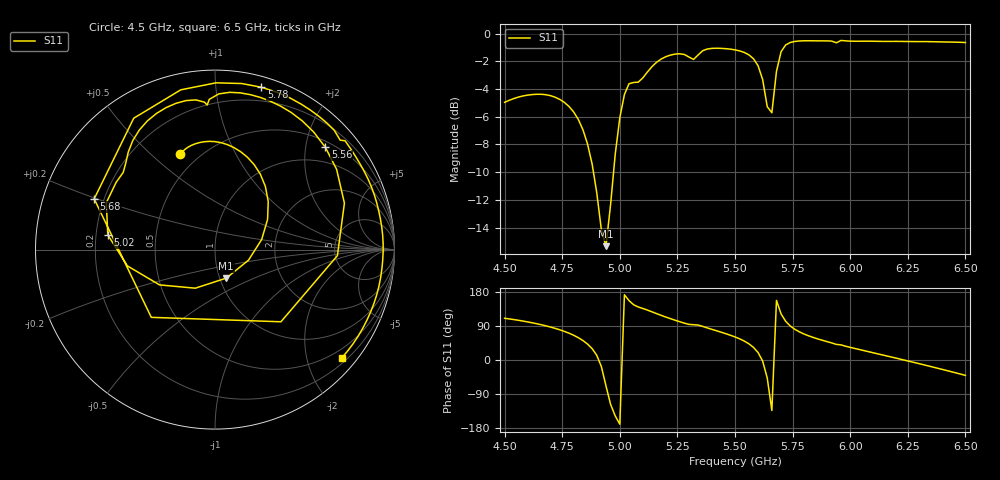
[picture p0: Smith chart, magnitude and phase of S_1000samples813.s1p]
! TOUCHSTONE file generated by CST MICROWAVE STUDIO
! Date and time: Sat Oct 29 11:48:56 2022
! Project name: L.cst
! Parameters = {Di=1.27; Epsilon_r=1.56; InnerDiameter=1.27; Length=2; Lf=10; Lg=60; OuterConductorThickness=0.2921; OuterDiameter=3.6; Wf=3; Wp=41.2; de=1.5; df=6.8; g=0.8; gx=0.984844; gy=2.51583; h=2.34; hf=1.524; px=14.6309; py=10.417; w=9.7; wx=13.646; wy=7.90114}
! Header version: 2018
! Port assignment regex: !\s*Touchstone port\s*([0-9]+)\s*=\s*(CST MWS port|CST DS port)\s*([0-9]+|Zmin|Zmax)\s*\(\"(.*)\"\)(\s*mode\s*([0-9]+))?.*
! Touchstone port assignment:
! Touchstone port 1 = CST MWS port 1 ("")
# GHz S DB R 50
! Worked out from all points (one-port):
!   101 points, 4.5 GHz to 6.5 GHz, reference 50 ohm
!   lowest |S11| = -15.3 dB at 4.94 GHz (marker M1), VSWR 1.41, Z = 53.7 - j17.6 ohm
!   |S11| at or under -10 dB: 4.886 GHz to 4.973 GHz (87.43 MHz wide, 1.77 % of centre)
!   S11 on the Smith chart (normalised r, x): 4.5 GHz: 0.40, +0.62; 5.02 GHz: 0.25, +0.06; 5.56 GHz: 0.63, +2.41; 5.68 GHz: 0.16, +0.20; 5.78 GHz: 0.08, +1.32; 6.5 GHz: 0.30, -2.68
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4.5  -4.96 110.1
4.66  -4.38 93.0
4.76  -4.97 75.4
4.82  -6.20 58.9
4.88  -9.43 29.9
4.94  -15.35 -68.4
4.98  -8.73 -147.5
5  -6.08 -169.5
5.02  -4.40 172.2
5.06  -3.53 145.8
5.18  -1.83 117.7
5.26  -1.45 101.1
5.4  -1.07 80.8
5.5  -1.17 60.9
5.56  -1.53 42.9
5.6  -2.31 19.8
5.62  -3.31 -2.8
5.64  -5.28 -47.6
5.66  -5.71 -133.2
5.68  -2.73 157.2
5.7  -1.30 121.7
5.72  -0.82 102.1
5.76  -0.56 80.9
5.78  -0.53 74.1
5.88  -0.52 51.9
6  -0.54 33.4
6.26  -0.57 -3.9
6.5  -0.64 -40.5
